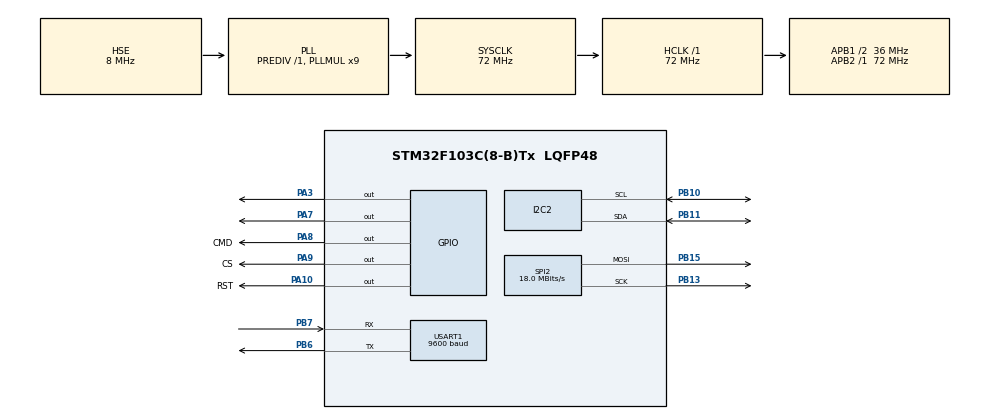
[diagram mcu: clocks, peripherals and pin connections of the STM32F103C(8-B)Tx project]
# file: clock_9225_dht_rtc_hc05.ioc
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Mcu.Family=STM32F1
Mcu.Name=STM32F103C(8-B)Tx
Mcu.Package=LQFP48
NVIC.PriorityGroup=NVIC_PRIORITYGROUP_4
NVIC.USART1_IRQn=true\:0\:0\:false\:false\:true\:true\:true\:true
PA10.GPIO_Label=RST
PA10.Signal=GPIO_Output
PA13.Mode=Serial_Wire
PA13.Signal=SYS_JTMS-SWDIO
PA14.Mode=Serial_Wire
PA14.Signal=SYS_JTCK-SWCLK
PA3.Signal=GPIO_Output
PA7.Signal=GPIO_Output
PA8.GPIO_Label=CMD
PA8.Signal=GPIO_Output
PA9.GPIO_Label=CS
PA9.Signal=GPIO_Output
PB10.Mode=I2C
PB10.Signal=I2C2_SCL
PB11.Mode=I2C
PB11.Signal=I2C2_SDA
PB13.Mode=TX_Only_Simplex_Unidirect_Master
PB13.Signal=SPI2_SCK
PB15.Mode=TX_Only_Simplex_Unidirect_Master
PB15.Signal=SPI2_MOSI
PB6.Mode=Asynchronous
PB6.Signal=USART1_TX
PB7.Mode=Asynchronous
PB7.Signal=USART1_RX
PD0-OSC_IN.Mode=HSE-External-Oscillator
PD0-OSC_IN.Signal=RCC_OSC_IN
PD1-OSC_OUT.Mode=HSE-External-Oscillator
PD1-OSC_OUT.Signal=RCC_OSC_OUT
ProjectManager.HeapSize=0x200
ProjectManager.StackSize=0x400
ProjectManager.TargetToolchain=STM32CubeIDE
RCC.AHBFreq_Value=72000000
RCC.APB1CLKDivider=RCC_HCLK_DIV2
RCC.APB1Freq_Value=36000000
RCC.APB1TimFreq_Value=72000000
RCC.APB2Freq_Value=72000000
RCC.APB2TimFreq_Value=72000000
RCC.HCLKFreq_Value=72000000
RCC.PLLMUL=RCC_PLL_MUL9
RCC.PLLSourceVirtual=RCC_PLLSOURCE_HSE
RCC.SYSCLKFreq_VALUE=72000000
RCC.SYSCLKSource=RCC_SYSCLKSOURCE_PLLCLK
RCC.USBFreq_Value=72000000
SPI2.CalculateBaudRate=18.0 MBits/s
SPI2.Direction=SPI_DIRECTION_2LINES
SPI2.Mode=SPI_MODE_MASTER
SPI2.VirtualType=VM_MASTER
USART1.BaudRate=9600
USART1.VirtualMode=VM_ASYNC
board=custom

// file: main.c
/* USER CODE BEGIN Header */
/**
  ******************************************************************************
  * @file           : main.c
  * @brief          : Main program body
  ******************************************************************************
  * @attention
  *
  * Copyright (c) 2023 STMicroelectronics.
  * All rights reserved.
  *
  * This software is licensed under terms that can be found in the LICENSE file
  * in the root directory of this software component.
  * If no LICENSE file comes with this software, it is provided AS-IS.
  *
  ******************************************************************************
  */
/* USER CODE END Header */
#include "main.h"

/* USER CODE BEGIN Includes */
#include "ILI9225.h"
#include "DHT.h"
#include "stdio.h"
#include "stdint.h"
#include <string.h>
#include "RTC.h"
#include "string.h"
/* USER CODE END Includes */

I2C_HandleTypeDef hi2c2;

SPI_HandleTypeDef hspi2;

UART_HandleTypeDef huart1;
/* USER CODE BEGIN PV */
uint8_t second_present, min_present, hour_present, date_present, month_present, year_present;
uint8_t second_temp, min_temp, hour_temp, date_temp, month_temp, year_temp;
char temperature_string[20];
char humidity_string[20];
float Temperature;
float Humidity;
char str1[20];
char str2[20];

DHT_DataTypedef DHT11_Data;
/* USER CODE END PV */

void SystemClock_Config(void);
static void MX_GPIO_Init(void);
static void MX_SPI2_Init(void);
static void MX_I2C2_Init(void);
static void MX_USART1_UART_Init(void);

/* USER CODE BEGIN 0 */

uint8_t Rx_Buf = 0;
uint8_t uart_buffer[100];
uint8_t uart_pointer = 0;
uint8_t uart_flag = 0;
void HAL_UART_RxCpltCallback(UART_HandleTypeDef *huart)
{
	if(huart->Instance == huart1.Instance)
	{
		if(Rx_Buf != '\n')
		{
			uart_buffer[uart_pointer] = Rx_Buf;
	//nếu byte nhận được bên trong bộ đệm không phải dấu xuống dòng thì byte trong Rx_Buf đó được lưu vào mảng uart_buffer tại vị trí con tr�? "uart_pointer"//
			uart_pointer++;//tăng lên 1 để tr�? đến vị trí kế tiếp trong bộ đệm. HAHA ta khai báo cái mảng này lưu được tối đa tới 800 bits  nên vô tư ;))) //
		}
		else
		{
			uart_buffer[uart_pointer] = '\0'; //nếu byte nhận được trong
	//bộ đệm là dấu xuống dòng thì lưu giá trị rỗng vào mảng uart_buffer tại vị trí con tr�? uart_pointer.//
			uart_flag = 1;// biểu thị rằng 1 cái dòng data hoàn chỉnh đã được nhận từ thiết bị ngoại vi qua giao tiếp UART.
		}
	HAL_UART_Receive_IT(&huart1, &Rx_Buf, 1);//(trong vòng if), nhận data bằng ngắt rồi lưu vào huart1 tại bộ nhớ đệm chỉ duy nhất 1 bit=> rồi lại g�?i hàm call back nghĩa là lại nhảy vô if thêm lần nữa//
	}
}
void UART_Handle()
{
	if(uart_flag == 1)
	{ //nếu gặp /n thì nhảy sang cắt chuỗi
	//cut string//
		char *arg_list[10];//mảng có 10 ô, mỗi ô chứa tối đa 8 bits
		uint8_t arg_num = 0; // số thứ n trong mảng
		char *temp_token = strtok((char *)uart_buffer, " "); //Chỉ gán char trừ khoảng trắng cho con tr�? temp_token//
		while(temp_token != NULL)
		{ //vòng lặp chạy mãi cho tới khi token tạm th�?i = null
			arg_list[arg_num] = temp_token; //byte của temp_token sẽ được lưu vào mảng arg_list tại arg_num//
			arg_num++; //để bảo đảm là mỗi token đã được qua thực thi rồi
			temp_token = strtok(NULL, " ");
		}
// Handle
	if(strstr(arg_list[0], "sw") != NULL)
	{
		if(strstr(arg_list[1], "on") != NULL)
		{
			HAL_UART_Transmit_IT(&huart1, (uint8_t *)humidity_string, 7);
			HAL_GPIO_WritePin(GPIOA, GPIO_PIN_3, 1);
		}
		else if(strstr(arg_list[1], "off") != NULL)
		{
			HAL_GPIO_WritePin(GPIOA, GPIO_PIN_3, 0);
		}
	}
	uart_pointer = 0;
	uart_flag = 0;
	}
}

//DHT_DataTypedef DHT11;
DateTime_t datetime;

void Read_DataDHT(void)
{
	DHT_GetData(&DHT11_Data);
	Temperature = DHT11_Data.Temperature;
	Humidity = DHT11_Data.Humidity;
}

/* USER CODE END 0 */

int main(void)
{

  /* MCU Configuration--------------------------------------------------------*/

  /* Reset of all peripherals, Initializes the Flash interface and the Systick. */
  HAL_Init();

  /* Configure the system clock */
  SystemClock_Config();

  /* Initialize all configured peripherals */
  MX_GPIO_Init();
  MX_SPI2_Init();
  MX_I2C2_Init();
  MX_USART1_UART_Init();
  DHT_Start();
  /* USER CODE BEGIN 2 */
  HAL_UART_Receive_IT(&huart1, &Rx_Buf, 1);
  lcd_init();
  fill_rectangle(0, 0, WIDTH, HEIGHT, COLOR_WHITE);
  draw_string(0, 0, COLOR_GREENYELLOW, 5, "HELLO ");
  draw_string(0, 40, COLOR_GREENYELLOW, 4, "HELLO ");
  draw_string(0, 60, COLOR_GREENYELLOW, 3, "HELLO ");
  draw_string(0, 80, COLOR_GREENYELLOW, 2, "HELLO ");
  draw_string(0, 100, COLOR_GREENYELLOW, 1, "HELLO ");

  HAL_Delay(2500);
  fill_rectangle(0, 0, WIDTH, HEIGHT, COLOR_WHITE);
//  draw_string(10, 10, COLOR_GREENYELLOW, 1, "20");
//  fill_rectangle(10, 10, 20, 20, COLOR_TOMATO);

//  Read_DataDHT();
//
//   Cài đặt thời gian ban đầu
  datetime.second = 15;
  datetime.min = 44;
  datetime.hour = 12;
  datetime.day = 8;
  datetime.date = 58;
  datetime.month = 12;
  datetime.year = 23;
  RTC_WriteTime(&datetime);

//  draw_string(20, 40, COLOR_GOLD, 2, "HUM");
  draw_string(20, 50, COLOR_GOLD, 5, "QMDP");
  HAL_Delay(2500);
  fill_rectangle(0, 0, WIDTH, HEIGHT, COLOR_WHITE);
  draw_string(20, 20, COLOR_GOLD, 2, "TEMP");
  draw_string(20, 40, COLOR_GOLD, 1, "HUMIDITY");

  /* USER CODE END 2 */

  /* Infinite loop */
  while (1)
{

    /* USER CODE BEGIN 3 */
	     UART_Handle();

		 RTC_ReadTime(&datetime);
		  second_temp = datetime.second;
		  min_temp = datetime.min;
		  hour_temp = datetime.hour;
		  date_temp = datetime.date;
		  month_temp = datetime.month;
		  year_temp = datetime.year;
		  sprintf(str1, "Time %.2d:%.2d:%.2d", datetime.hour, datetime.min, datetime.second);

		  if(second_temp != second_present)
		  {
			  fill_rectangle(140, 100, 160, 110, COLOR_WHITE);
			  second_present = second_temp;
		  }
		  draw_string(40, 100, COLOR_BLACK, 1, str1);

		  if(min_temp != min_present)
		  	  {
		  		  fill_rectangle(110, 100, 130, 110, COLOR_WHITE);
		  		  min_present = min_temp;
		  	  }
		  draw_string(40, 100, COLOR_BLACK, 1, str1);

		  if(hour_temp != hour_present)
		 	  	  {
		 	  		  fill_rectangle(85, 100, 105, 110, COLOR_WHITE);
		 	  		  hour_present = hour_temp;
		 	  	  }
		  draw_string(40, 100, COLOR_BLACK, 1, str1);

		  sprintf(str2,"Date %.2d/%.2d/%.2d",datetime.date,datetime.month,datetime.year );
	// để sprintf ở đây cho nó chính xác, date, month, year lâu lắm
		  //để sprintf ở đây để convert, lệnh in lên LCD nằm trong thư viện của LCD
		  if(date_temp != date_present)
		  	 	  	  {
		  	 	  		  fill_rectangle(85, 115, 105, 135, COLOR_WHITE);
		  	 	  		  date_present = date_temp;
		  	 	  	  }
		  	  draw_string(40, 120, COLOR_BLACK, 1, str2);

		  	if(month_temp != month_present)
		  		 	  	  {
		  		 	  		  fill_rectangle(110, 115, 130, 135, COLOR_WHITE);
		  		 	  		  month_present = month_temp;
		  		 	  	  }
		  		  draw_string(40, 120, COLOR_BLACK, 1, str2);

		  		if(year_temp != year_present)
		  			 	  	  {
		  			 	  		  fill_rectangle(135, 115, 160, 135, COLOR_WHITE);
		  			 	  		  year_present = year_temp;
		  			 	  	  }
		  			  draw_string(40, 120, COLOR_BLACK, 1, str2);
//

//		  			          Read_DataDHT();
//		  				      snprintf(temperature_string, 7, "%.2f", Temperature);
//		  				      snprintf(humidity_string, 7, "%.2f", Humidity);
//		  				      fill_rectangle(0, 0, 220, 176, COLOR_WHITE);
//		  				      draw_string(20, 20, COLOR_BLUE, 4, temperature_string);
//		  					  draw_string(20, 90, COLOR_BLUE, 4, humidity_string);
//		  					  HAL_Delay(2000);
////
	      snprintf(temperature_string, 7, "%.2f", Temperature);
	      snprintf(humidity_string, 7, "%.2f", Humidity);
	      fill_rectangle(150, 20, 220, 50, COLOR_WHITE);
//          Read_DataDHT();
//	      draw_string(20, 20, COLOR_GOLD, 1, "TEMP");
//	      draw_string(20, 40, COLOR_GOLD, 1, "HUM");
////
	      draw_string(150, 20, COLOR_BLUE, 1, temperature_string);
		  draw_string(150, 40, COLOR_BLUE, 1, humidity_string);
////////	  	  DHT_GetData(&dht11);
	  	  Read_DataDHT();
  }
  /* USER CODE END 3 */
}

void SystemClock_Config(void)
{
  RCC_OscInitTypeDef RCC_OscInitStruct = {0};
  RCC_ClkInitTypeDef RCC_ClkInitStruct = {0};

  /** Initializes the RCC Oscillators according to the specified parameters
  * in the RCC_OscInitTypeDef structure.
  */
  RCC_OscInitStruct.OscillatorType = RCC_OSCILLATORTYPE_HSE;
  RCC_OscInitStruct.HSEState = RCC_HSE_ON;
  RCC_OscInitStruct.HSEPredivValue = RCC_HSE_PREDIV_DIV1;
  RCC_OscInitStruct.HSIState = RCC_HSI_ON;
  RCC_OscInitStruct.PLL.PLLState = RCC_PLL_ON;
  RCC_OscInitStruct.PLL.PLLSource = RCC_PLLSOURCE_HSE;
  RCC_OscInitStruct.PLL.PLLMUL = RCC_PLL_MUL9;
  if (HAL_RCC_OscConfig(&RCC_OscInitStruct) != HAL_OK)
  {
    Error_Handler();
  }

  /** Initializes the CPU, AHB and APB buses clocks
  */
  RCC_ClkInitStruct.ClockType = RCC_CLOCKTYPE_HCLK|RCC_CLOCKTYPE_SYSCLK
                              |RCC_CLOCKTYPE_PCLK1|RCC_CLOCKTYPE_PCLK2;
  RCC_ClkInitStruct.SYSCLKSource = RCC_SYSCLKSOURCE_PLLCLK;
  RCC_ClkInitStruct.AHBCLKDivider = RCC_SYSCLK_DIV1;
  RCC_ClkInitStruct.APB1CLKDivider = RCC_HCLK_DIV2;
  RCC_ClkInitStruct.APB2CLKDivider = RCC_HCLK_DIV1;

  if (HAL_RCC_ClockConfig(&RCC_ClkInitStruct, FLASH_LATENCY_2) != HAL_OK)
  {
    Error_Handler();
  }
}
static void MX_USART1_UART_Init(void)
{

huart1.Instance = USART1;
huart1.Init.BaudRate = 9600;
huart1.Init.WordLength = UART_WORDLENGTH_8B;
huart1.Init.StopBits = UART_STOPBITS_1;
huart1.Init.Parity = UART_PARITY_NONE;
huart1.Init.Mode = UART_MODE_TX_RX;
huart1.Init.HwFlowCtl = UART_HWCONTROL_NONE;
huart1.Init.OverSampling = UART_OVERSAMPLING_16;
if (HAL_UART_Init(&huart1) != HAL_OK)
{
  Error_Handler();
}

}

static void MX_I2C2_Init(void)
{

  hi2c2.Instance = I2C2;
  hi2c2.Init.ClockSpeed = 100000;
  hi2c2.Init.DutyCycle = I2C_DUTYCYCLE_2;
  hi2c2.Init.OwnAddress1 = 0;
  hi2c2.Init.AddressingMode = I2C_ADDRESSINGMODE_7BIT;
  hi2c2.Init.DualAddressMode = I2C_DUALADDRESS_DISABLE;
  hi2c2.Init.OwnAddress2 = 0;
  hi2c2.Init.GeneralCallMode = I2C_GENERALCALL_DISABLE;
  hi2c2.Init.NoStretchMode = I2C_NOSTRETCH_DISABLE;
  if (HAL_I2C_Init(&hi2c2) != HAL_OK)
  {
    Error_Handler();
  }
}

static void MX_SPI2_Init(void)
{

  /* SPI2 parameter configuration*/
  hspi2.Instance = SPI2;
  hspi2.Init.Mode = SPI_MODE_MASTER;
  hspi2.Init.Direction = SPI_DIRECTION_2LINES;
  hspi2.Init.DataSize = SPI_DATASIZE_8BIT;
  hspi2.Init.CLKPolarity = SPI_POLARITY_LOW;
  hspi2.Init.CLKPhase = SPI_PHASE_1EDGE;
  hspi2.Init.NSS = SPI_NSS_SOFT;
  hspi2.Init.BaudRatePrescaler = SPI_BAUDRATEPRESCALER_2;
  hspi2.Init.FirstBit = SPI_FIRSTBIT_MSB;
  hspi2.Init.TIMode = SPI_TIMODE_DISABLE;
  hspi2.Init.CRCCalculation = SPI_CRCCALCULATION_DISABLE;
  hspi2.Init.CRCPolynomial = 10;
  if (HAL_SPI_Init(&hspi2) != HAL_OK)
  {
    Error_Handler();
  }

}

static void MX_GPIO_Init(void)
{
  GPIO_InitTypeDef GPIO_InitStruct = {0};

  /* GPIO Ports Clock Enable */
  __HAL_RCC_GPIOD_CLK_ENABLE();
  __HAL_RCC_GPIOA_CLK_ENABLE();
  __HAL_RCC_GPIOB_CLK_ENABLE();

  /*Configure GPIO pin Output Level */
  HAL_GPIO_WritePin(GPIOA, GPIO_PIN_7|CMD_Pin|CS_Pin|RST_Pin, GPIO_PIN_RESET);

  /*Configure GPIO pins : PA7 CMD_Pin CS_Pin RST_Pin */
  GPIO_InitStruct.Pin = GPIO_PIN_7|CMD_Pin|CS_Pin|RST_Pin;
  GPIO_InitStruct.Mode = GPIO_MODE_OUTPUT_PP;
  GPIO_InitStruct.Pull = GPIO_NOPULL;
  GPIO_InitStruct.Speed = GPIO_SPEED_FREQ_LOW;
  HAL_GPIO_Init(GPIOA, &GPIO_InitStruct);

}

void Error_Handler(void)
{
  __disable_irq();
  while (1)
  {
  }
}
